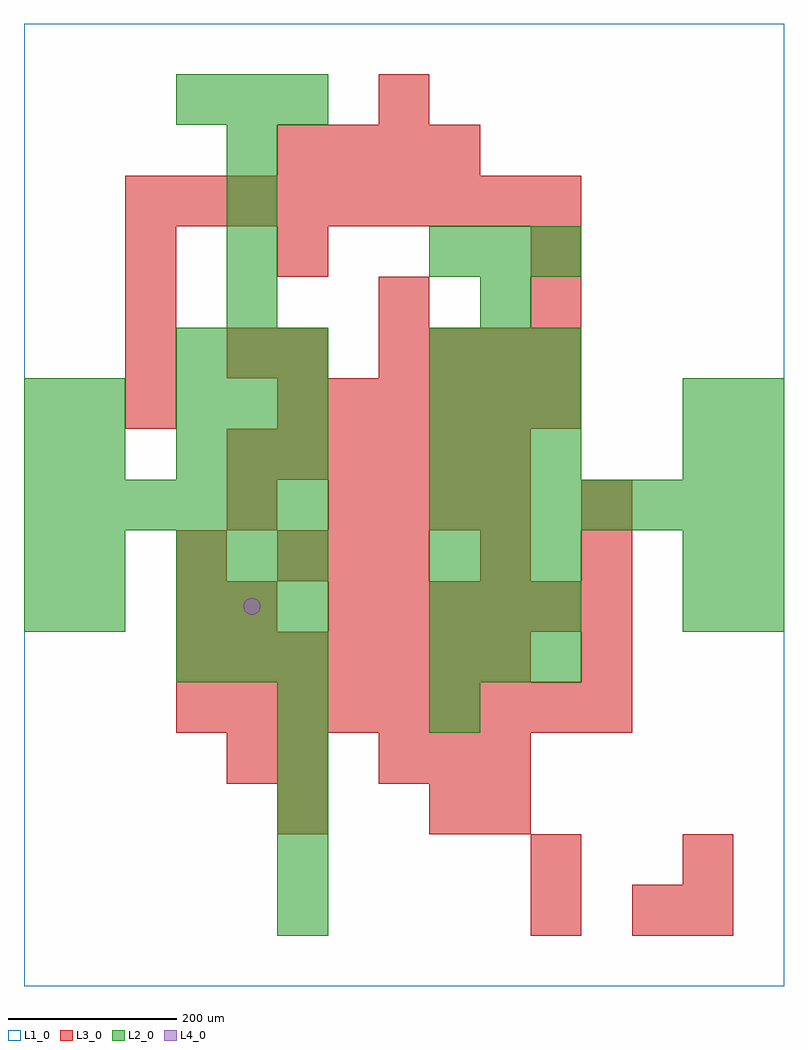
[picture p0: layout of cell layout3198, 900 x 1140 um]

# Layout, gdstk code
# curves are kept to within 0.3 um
import gdstk
lib = gdstk.Library(unit=1e-6, precision=1e-09)
def R(c, l, rs):  # rectangles x0, y0, x1, y1
    for r in rs: c.add(gdstk.rectangle(r[:2], r[2:], *l))
def A(c, l, x, y, w, h, nx, ny, dx, dy):  # array of equal rectangles
    R(c, l, [(x+i*dx, y+j*dy, x+i*dx+w, y+j*dy+h) for i in range(nx) for j in range(ny)])
def P(c, l, *ps):  # polygons
    for p in ps: c.add(gdstk.Polygon(p, *l))
L1_0 = (1, 0)
L2_0 = (2, 0)
L3_0 = (3, 0)
L4_0 = (4, 0)

layout3198 = lib.new_cell('layout3198')
R(layout3198, L1_0, [(0,0,900,1140)])
A(layout3198, L2_0, 300, 60, 60, 60, 1, 5, 0, 60)
A(layout3198, L2_0, 180, 360, 60, 60, 3, 3, 60, 60)
A(layout3198, L2_0, 480, 360, 60, 60, 3, 3, 60, 60)
A(layout3198, L2_0, 0, 540, 60, 60, 6, 1, 60, 0)
A(layout3198, L2_0, 480, 540, 60, 60, 7, 1, 60, 0)
A(layout3198, L2_0, 180, 600, 60, 60, 3, 3, 60, 60)
A(layout3198, L2_0, 480, 600, 60, 60, 3, 3, 60, 60)
A(layout3198, L2_0, 240, 780, 60, 60, 1, 4, 0, 60)
A(layout3198, L2_0, 480, 840, 60, 60, 3, 1, 60, 0)
A(layout3198, L2_0, 180, 1020, 60, 60, 3, 1, 60, 0)
R(layout3198, L2_0, [(480,300,540,360), (0,420,60,480), (60,420,120,480), (780,420,840,480), (840,420,900,480), (0,480,60,540), (60,480,120,540), (780,480,840,540), (840,480,900,540), (0,600,60,660), (60,600,120,660), (780,600,840,660), (840,600,900,660), (0,660,60,720), (60,660,120,720), (780,660,840,720), (840,660,900,720), (540,780,600,840)])
A(layout3198, L3_0, 420, 240, 60, 60, 3, 1, 60, 0)
A(layout3198, L3_0, 180, 300, 60, 60, 9, 1, 60, 0)
A(layout3198, L3_0, 180, 360, 60, 60, 7, 1, 60, 0)
A(layout3198, L3_0, 360, 420, 60, 60, 6, 1, 60, 0)
A(layout3198, L3_0, 300, 480, 60, 60, 3, 1, 60, 0)
A(layout3198, L3_0, 360, 540, 60, 60, 4, 1, 60, 0)
A(layout3198, L3_0, 240, 600, 60, 60, 6, 1, 60, 0)
A(layout3198, L3_0, 120, 660, 60, 60, 1, 4, 0, 60)
A(layout3198, L3_0, 300, 660, 60, 60, 6, 1, 60, 0)
A(layout3198, L3_0, 420, 720, 60, 60, 4, 1, 60, 0)
A(layout3198, L3_0, 120, 900, 60, 60, 9, 1, 60, 0)
A(layout3198, L3_0, 300, 960, 60, 60, 4, 1, 60, 0)
R(layout3198, L3_0, [(600,60,660,120), (720,60,780,120), (780,60,840,120), (600,120,660,180), (780,120,840,180), (300,180,360,240), (480,180,540,240), (540,180,600,240), (240,240,300,300), (300,240,360,300), (660,360,720,420), (180,420,240,480), (240,420,300,480), (180,480,240,540), (540,480,600,540), (660,480,720,540), (240,540,300,600), (660,540,720,600), (240,720,300,780), (300,720,360,780), (420,780,480,840), (600,780,660,840), (300,840,360,900), (600,840,660,900), (420,1020,480,1080)])
P(layout3198, L4_0, [(280,450),(279.239,453.827),(277.071,457.071),(273.827,459.239),(270,460),(266.173,459.239),(262.929,457.071),(260.761,453.827),(260,450),(260.761,446.173),(262.929,442.929),(266.173,440.761),(270,440),(273.827,440.761),(277.071,442.929),(279.239,446.173)])

lib.write_gds('layout3198.gds')
